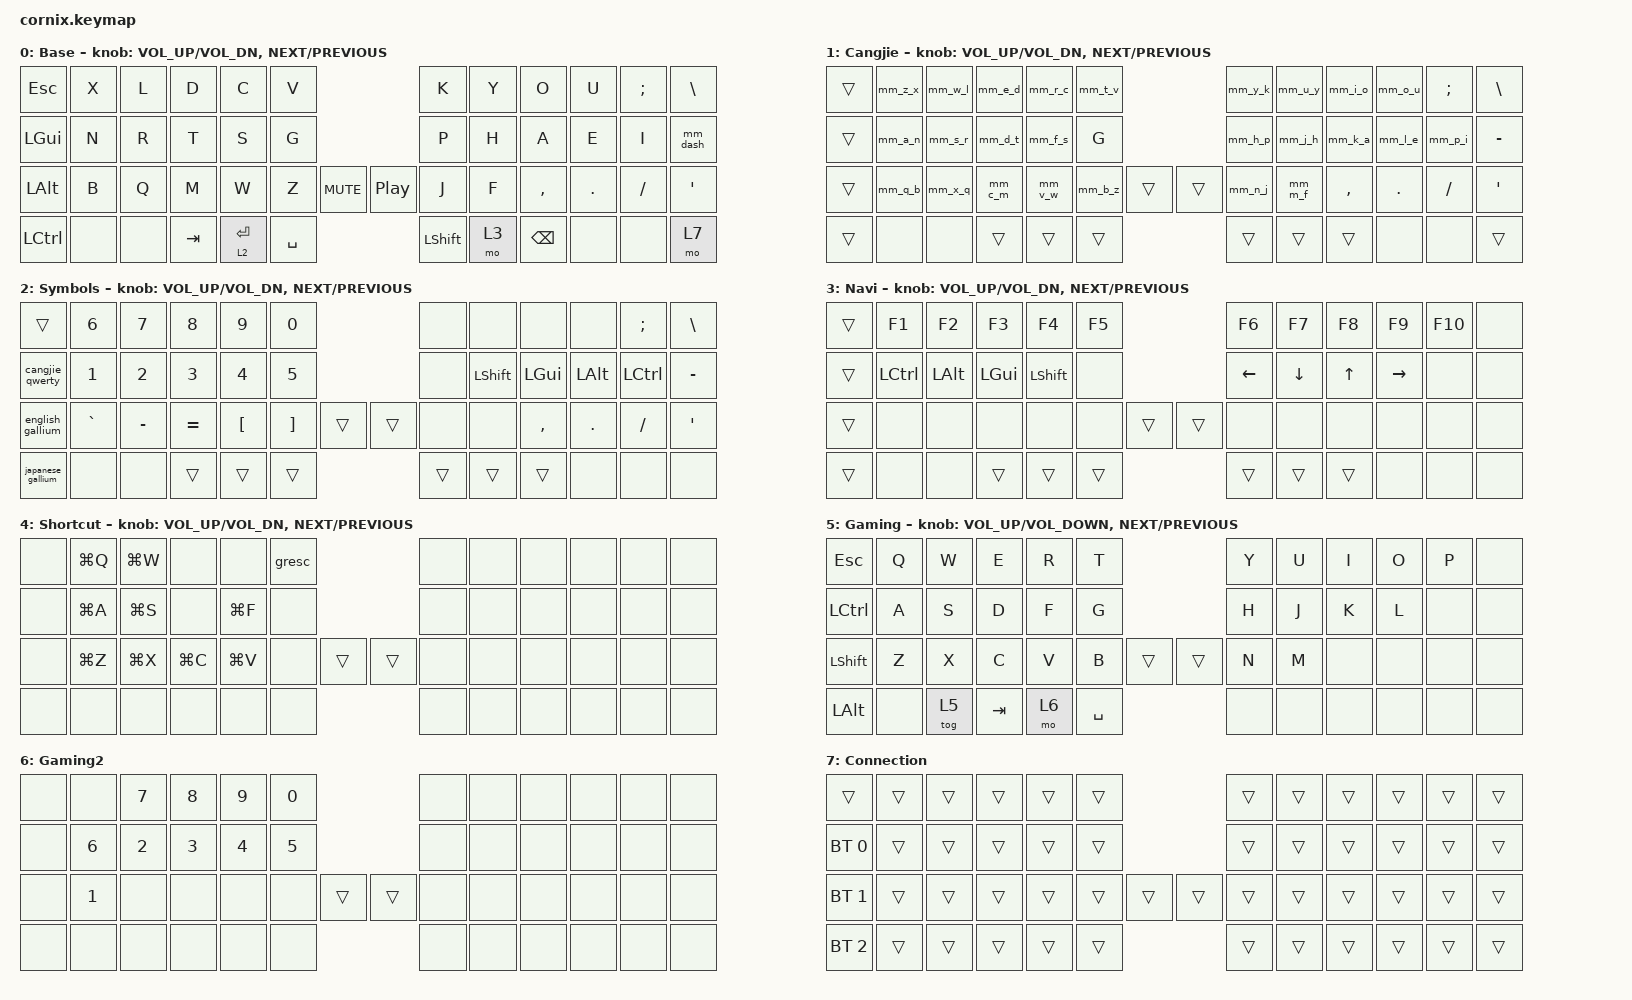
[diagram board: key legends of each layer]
/*
 * Copyright (c) 2020 The ZMK Contributors
 *
 * SPDX-License-Identifier: MIT
 */

#include "zmk-helpers/helper.h"
#include "includes/cornix54.h"

// tap windows for ctl alt and gui

#define HM_TAPPING_TERM 250
#define HM_TAPPING_REPEAT 210

// quick tapping for shift

#define HM_TAPPING_TERM_FAST 200
#define HM_PRIOR_IDLE 70
#define BASE 0
#define WIN 1
#define LOWER 2
#define RAISE 3
#define ADJUST 4
#define NAVI   5
#define NUM    6
#define DEBUG  7

// https://github.com/urob/zmk-config/tree/main#timeless-homerow-mods

#define KEYS_L LT0 LT1 LT2 LT3 LT4 LT5 LM0 LM1 LM2 LM3 LM4 LM5 LB0 LB1 LB2 LB3 LB4 LB5  // left hand
#define KEYS_R RT0 RT1 RT2 RT3 RT4 RT5 RM0 RM1 RM2 RM3 RM4 RM5 RB0 RB1 RB2 RB3 RB4 RB5  // right hand
#define THUMBS LH1 LH0 RH0 RH1
#define KEYS_T LH1 LH0 RH0 RH1
#define ZMK_POINTING_DEFAULT_SCRL_VAL 15

#include <behaviors.dtsi>
#include <dt-bindings/zmk/bt.h>
#include <dt-bindings/zmk/keys.h>

/ {
    // Activate ADJUST layer by pressing raise and lower

    behaviors {
        // Positional Homerow mods for shift
        // Use faster tapping term and disable some features that may
        // cause false negatives.
        /*
         * Non-Positional Homerow Mods
         * Used for &mm_grescm_gui behavior on left hand.
         *
         * Usage: &hm LSHFT T
         * Tap: T
         * Tap-Tap-Hold: Repeat T
         * Hold: LSHIFT
         */

        Cangjie_Layer: Cangjie_Layer {
            compatible = "zmk,behavior-hold-tap";
            label = "CANGJIE_LAYER";
            bindings = <&mo>, <&cangjie_qwerty>;

            #binding-cells = <2>;
            tapping-term-ms = <200>;
        };

        English_Layer: English_Layer {
            compatible = "zmk,behavior-hold-tap";
            label = "ENGLISH_LAYER";
            bindings = <&mo>, <&english_gallium>;

            #binding-cells = <2>;
            tapping-term-ms = <200>;
        };

        Shift_Layer: Shift_Layer {
            compatible = "zmk,behavior-hold-tap";
            label = "SHIFT_LAYER";
            bindings = <&mo>, <&sk>;

            #binding-cells = <2>;
            tapping-term-ms = <200>;
            quick-tap-ms = <150>;
        };

        toggle_on: toggle_on {
            compatible = "zmk,behavior-toggle-layer";
            label = "TOGGLE_ON";
            #binding-cells = <1>;
        };

        toggle_off: toggle_off {
            compatible = "zmk,behavior-toggle-layer";
            label = "TOGGLE_OFF";
            #binding-cells = <1>;
            toggle-mode = "off";
        };

        mm_dash: mm_dash {
            compatible = "zmk,behavior-mod-morph";
            label = "MM_DASH";
            bindings = <&kp MINUS>, <&kp MINUS>;

            #binding-cells = <0>;
            mods = <(MOD_LSFT)>;
        };

        mm_a_n: mm_a_n {
            compatible = "zmk,behavior-mod-morph";
            label = "MM_A_N";
            bindings = <&kp A>, <&kp N>;

            #binding-cells = <0>;
            mods = <(MOD_LCTL|MOD_LSFT|MOD_LALT|MOD_LGUI|MOD_RCTL|MOD_RSFT|MOD_RALT|MOD_RGUI)>;
            keep-mods = <(MOD_LCTL|MOD_LSFT|MOD_LALT|MOD_LGUI|MOD_RCTL|MOD_RALT|MOD_RSFT|MOD_RGUI)>;
        };

        mm_b_z: mm_b_z {
            compatible = "zmk,behavior-mod-morph";
            label = "MM_B_Z";
            bindings = <&kp B>, <&kp Z>;

            #binding-cells = <0>;
            mods = <(MOD_LCTL|MOD_LSFT|MOD_LALT|MOD_LGUI|MOD_RCTL|MOD_RSFT|MOD_RALT|MOD_RGUI)>;
            keep-mods = <(MOD_LCTL|MOD_LSFT|MOD_LALT|MOD_LGUI|MOD_RCTL|MOD_RALT|MOD_RSFT|MOD_RGUI)>;
        };

        mm_c_m: mm_c_m {
            compatible = "zmk,behavior-mod-morph";
            label = "MM_C_M";
            bindings = <&kp C>, <&kp M>;

            #binding-cells = <0>;
            mods = <(MOD_LCTL|MOD_LSFT|MOD_LALT|MOD_LGUI|MOD_RCTL|MOD_RSFT|MOD_RALT|MOD_RGUI)>;
            keep-mods = <(MOD_LCTL|MOD_LSFT|MOD_LALT|MOD_LGUI|MOD_RCTL|MOD_RALT|MOD_RSFT|MOD_RGUI)>;
        };

        mm_d_t: mm_d_t {
            compatible = "zmk,behavior-mod-morph";
            label = "MM_D_T";
            bindings = <&kp D>, <&kp T>;

            #binding-cells = <0>;
            mods = <(MOD_LCTL|MOD_LSFT|MOD_LALT|MOD_LGUI|MOD_RCTL|MOD_RSFT|MOD_RALT|MOD_RGUI)>;
            keep-mods = <(MOD_LCTL|MOD_LSFT|MOD_LALT|MOD_LGUI|MOD_RCTL|MOD_RALT|MOD_RSFT|MOD_RGUI)>;
        };

        mm_e_d: mm_e_d {
            compatible = "zmk,behavior-mod-morph";
            label = "MM_E_D";
            bindings = <&kp E>, <&kp D>;

            #binding-cells = <0>;
            mods = <(MOD_LCTL|MOD_LSFT|MOD_LALT|MOD_LGUI|MOD_RCTL|MOD_RSFT|MOD_RALT|MOD_RGUI)>;
            keep-mods = <(MOD_LCTL|MOD_LSFT|MOD_LALT|MOD_LGUI|MOD_RCTL|MOD_RALT|MOD_RSFT|MOD_RGUI)>;
        };

        mm_f_s: mm_f_s {
            compatible = "zmk,behavior-mod-morph";
            label = "MM_F_S";
            bindings = <&kp F>, <&kp S>;

            #binding-cells = <0>;
            mods = <(MOD_LCTL|MOD_LSFT|MOD_LALT|MOD_LGUI|MOD_RCTL|MOD_RSFT|MOD_RALT|MOD_RGUI)>;
            keep-mods = <(MOD_LCTL|MOD_LSFT|MOD_LALT|MOD_LGUI|MOD_RCTL|MOD_RALT|MOD_RSFT|MOD_RGUI)>;
        };

        mm_h_p: mm_h_p {
            compatible = "zmk,behavior-mod-morph";
            label = "MM_H_P";
            bindings = <&kp H>, <&kp P>;

            #binding-cells = <0>;
            mods = <(MOD_LCTL|MOD_LSFT|MOD_LALT|MOD_LGUI|MOD_RCTL|MOD_RSFT|MOD_RALT|MOD_RGUI)>;
            keep-mods = <(MOD_LCTL|MOD_LSFT|MOD_LALT|MOD_LGUI|MOD_RCTL|MOD_RALT|MOD_RSFT|MOD_RGUI)>;
        };

        mm_i_o: mm_i_o {
            compatible = "zmk,behavior-mod-morph";
            label = "MM_I_O";
            bindings = <&kp I>, <&kp O>;

            #binding-cells = <0>;
            mods = <(MOD_LCTL|MOD_LSFT|MOD_LALT|MOD_LGUI|MOD_RCTL|MOD_RSFT|MOD_RALT|MOD_RGUI)>;
            keep-mods = <(MOD_LCTL|MOD_LSFT|MOD_LALT|MOD_LGUI|MOD_RCTL|MOD_RALT|MOD_RSFT|MOD_RGUI)>;
        };

        mm_j_h: mm_j_h {
            compatible = "zmk,behavior-mod-morph";
            label = "MM_J_H";
            bindings = <&kp J>, <&kp H>;

            #binding-cells = <0>;
            mods = <(MOD_LCTL|MOD_LSFT|MOD_LALT|MOD_LGUI|MOD_RCTL|MOD_RSFT|MOD_RALT|MOD_RGUI)>;
            keep-mods = <(MOD_LCTL|MOD_LSFT|MOD_LALT|MOD_LGUI|MOD_RCTL|MOD_RALT|MOD_RSFT|MOD_RGUI)>;
        };

        mm_k_a: mm_k_a {
            compatible = "zmk,behavior-mod-morph";
            label = "MM_K_A";
            bindings = <&kp K>, <&kp A>;

            #binding-cells = <0>;
            mods = <(MOD_LCTL|MOD_LSFT|MOD_LALT|MOD_LGUI|MOD_RCTL|MOD_RSFT|MOD_RALT|MOD_RGUI)>;
            keep-mods = <(MOD_LCTL|MOD_LSFT|MOD_LALT|MOD_LGUI|MOD_RCTL|MOD_RALT|MOD_RSFT|MOD_RGUI)>;
        };

        mm_l_e: mm_l_e {
            compatible = "zmk,behavior-mod-morph";
            label = "MM_L_E";
            bindings = <&kp L>, <&kp E>;

            #binding-cells = <0>;
            mods = <(MOD_LCTL|MOD_LSFT|MOD_LALT|MOD_LGUI|MOD_RCTL|MOD_RSFT|MOD_RALT|MOD_RGUI)>;
            keep-mods = <(MOD_LCTL|MOD_LSFT|MOD_LALT|MOD_LGUI|MOD_RCTL|MOD_RALT|MOD_RSFT|MOD_RGUI)>;
        };

        mm_m_f: mm_m_f {
            compatible = "zmk,behavior-mod-morph";
            label = "MM_M_F";
            bindings = <&kp M>, <&kp F>;

            #binding-cells = <0>;
            mods = <(MOD_LCTL|MOD_LSFT|MOD_LALT|MOD_LGUI|MOD_RCTL|MOD_RSFT|MOD_RALT|MOD_RGUI)>;
            keep-mods = <(MOD_LCTL|MOD_LSFT|MOD_LALT|MOD_LGUI|MOD_RCTL|MOD_RALT|MOD_RSFT|MOD_RGUI)>;
        };

        mm_n_j: mm_n_j {
            compatible = "zmk,behavior-mod-morph";
            label = "MM_N_J";
            bindings = <&kp N>, <&kp J>;

            #binding-cells = <0>;
            mods = <(MOD_LCTL|MOD_LSFT|MOD_LALT|MOD_LGUI|MOD_RCTL|MOD_RSFT|MOD_RALT|MOD_RGUI)>;
            keep-mods = <(MOD_LCTL|MOD_LSFT|MOD_LALT|MOD_LGUI|MOD_RCTL|MOD_RALT|MOD_RSFT|MOD_RGUI)>;
        };

        mm_o_u: mm_o_u {
            compatible = "zmk,behavior-mod-morph";
            label = "MM_O_U";
            bindings = <&kp O>, <&kp U>;

            #binding-cells = <0>;
            mods = <(MOD_LCTL|MOD_LSFT|MOD_LALT|MOD_LGUI|MOD_RCTL|MOD_RSFT|MOD_RALT|MOD_RGUI)>;
            keep-mods = <(MOD_LCTL|MOD_LSFT|MOD_LALT|MOD_LGUI|MOD_RCTL|MOD_RALT|MOD_RSFT|MOD_RGUI)>;
        };

        mm_p_i: mm_p_i {
            compatible = "zmk,behavior-mod-morph";
            label = "MM_P_I";
            bindings = <&kp P>, <&kp I>;

            #binding-cells = <0>;
            mods = <(MOD_LCTL|MOD_LSFT|MOD_LALT|MOD_LGUI|MOD_RCTL|MOD_RSFT|MOD_RALT|MOD_RGUI)>;
            keep-mods = <(MOD_LCTL|MOD_LSFT|MOD_LALT|MOD_LGUI|MOD_RCTL|MOD_RALT|MOD_RSFT|MOD_RGUI)>;
        };

        mm_q_b: mm_q_b {
            compatible = "zmk,behavior-mod-morph";
            label = "MM_Q_B";
            bindings = <&kp Q>, <&kp B>;

            #binding-cells = <0>;
            mods = <(MOD_LCTL|MOD_LSFT|MOD_LALT|MOD_LGUI|MOD_RCTL|MOD_RSFT|MOD_RALT|MOD_RGUI)>;
            keep-mods = <(MOD_LCTL|MOD_LSFT|MOD_LALT|MOD_LGUI|MOD_RCTL|MOD_RALT|MOD_RSFT|MOD_RGUI)>;
        };

        mm_r_c: mm_r_c {
            compatible = "zmk,behavior-mod-morph";
            label = "MM_R_C";
            bindings = <&kp R>, <&kp C>;

            #binding-cells = <0>;
            mods = <(MOD_LCTL|MOD_LSFT|MOD_LALT|MOD_LGUI|MOD_RCTL|MOD_RSFT|MOD_RALT|MOD_RGUI)>;
            keep-mods = <(MOD_LCTL|MOD_LSFT|MOD_LALT|MOD_LGUI|MOD_RCTL|MOD_RALT|MOD_RSFT|MOD_RGUI)>;
        };

        mm_s_r: mm_s_r {
            compatible = "zmk,behavior-mod-morph";
            label = "MM_S_R";
            bindings = <&kp S>, <&kp R>;

            #binding-cells = <0>;
            mods = <(MOD_LCTL|MOD_LSFT|MOD_LALT|MOD_LGUI|MOD_RCTL|MOD_RSFT|MOD_RALT|MOD_RGUI)>;
            keep-mods = <(MOD_LCTL|MOD_LSFT|MOD_LALT|MOD_LGUI|MOD_RCTL|MOD_RALT|MOD_RSFT|MOD_RGUI)>;
        };

        mm_t_v: mm_t_v {
            compatible = "zmk,behavior-mod-morph";
            label = "MM_T_V";
            bindings = <&kp T>, <&kp V>;

            #binding-cells = <0>;
            mods = <(MOD_LCTL|MOD_LSFT|MOD_LALT|MOD_LGUI|MOD_RCTL|MOD_RSFT|MOD_RALT|MOD_RGUI)>;
            keep-mods = <(MOD_LCTL|MOD_LSFT|MOD_LALT|MOD_LGUI|MOD_RCTL|MOD_RALT|MOD_RSFT|MOD_RGUI)>;
        };

        mm_u_y: mm_u_y {
            compatible = "zmk,behavior-mod-morph";
            label = "MM_U_Y";
            bindings = <&kp U>, <&kp Y>;

            #binding-cells = <0>;
            mods = <(MOD_LCTL|MOD_LSFT|MOD_LALT|MOD_LGUI|MOD_RCTL|MOD_RSFT|MOD_RALT|MOD_RGUI)>;
            keep-mods = <(MOD_LCTL|MOD_LSFT|MOD_LALT|MOD_LGUI|MOD_RCTL|MOD_RALT|MOD_RSFT|MOD_RGUI)>;
        };

        mm_v_w: mm_v_w {
            compatible = "zmk,behavior-mod-morph";
            label = "MM_V_W";
            bindings = <&kp V>, <&kp W>;

            #binding-cells = <0>;
            mods = <(MOD_LCTL|MOD_LSFT|MOD_LALT|MOD_LGUI|MOD_RCTL|MOD_RSFT|MOD_RALT|MOD_RGUI)>;
            keep-mods = <(MOD_LCTL|MOD_LSFT|MOD_LALT|MOD_LGUI|MOD_RCTL|MOD_RALT|MOD_RSFT|MOD_RGUI)>;
        };

        mm_w_l: mm_w_l {
            compatible = "zmk,behavior-mod-morph";
            label = "MM_W_L";
            bindings = <&kp W>, <&kp L>;

            #binding-cells = <0>;
            mods = <(MOD_LCTL|MOD_LSFT|MOD_LALT|MOD_LGUI|MOD_RCTL|MOD_RSFT|MOD_RALT|MOD_RGUI)>;
            keep-mods = <(MOD_LCTL|MOD_LSFT|MOD_LALT|MOD_LGUI|MOD_RCTL|MOD_RALT|MOD_RSFT|MOD_RGUI)>;
        };

        mm_x_q: mm_x_q {
            compatible = "zmk,behavior-mod-morph";
            label = "MM_X_Q";
            bindings = <&kp X>, <&kp Q>;

            #binding-cells = <0>;
            mods = <(MOD_LCTL|MOD_LSFT|MOD_LALT|MOD_LGUI|MOD_RCTL|MOD_RSFT|MOD_RALT|MOD_RGUI)>;
            keep-mods = <(MOD_LCTL|MOD_LSFT|MOD_LALT|MOD_LGUI|MOD_RCTL|MOD_RALT|MOD_RSFT|MOD_RGUI)>;
        };

        mm_y_k: mm_y_k {
            compatible = "zmk,behavior-mod-morph";
            label = "MM_Y_K";
            bindings = <&kp Y>, <&kp K>;

            #binding-cells = <0>;
            mods = <(MOD_LCTL|MOD_LSFT|MOD_LALT|MOD_LGUI|MOD_RCTL|MOD_RSFT|MOD_RALT|MOD_RGUI)>;
            keep-mods = <(MOD_LCTL|MOD_LSFT|MOD_LALT|MOD_LGUI|MOD_RCTL|MOD_RALT|MOD_RSFT|MOD_RGUI)>;
        };

        mm_z_x: mm_z_x {
            compatible = "zmk,behavior-mod-morph";
            label = "MM_Z_X";
            bindings = <&kp Z>, <&kp X>;

            #binding-cells = <0>;
            mods = <(MOD_LCTL|MOD_LSFT|MOD_LALT|MOD_LGUI|MOD_RCTL|MOD_RSFT|MOD_RALT|MOD_RGUI)>;
            keep-mods = <(MOD_LCTL|MOD_LSFT|MOD_LALT|MOD_LGUI|MOD_RCTL|MOD_RALT|MOD_RSFT|MOD_RGUI)>;
        };
    };

    conditional_layers { compatible = "zmk,conditional-layers"; };

    combos { compatible = "zmk,combos"; };

    macros {
        cangjie_qwerty: cangjie_qwerty {
            compatible = "zmk,behavior-macro";
            #binding-cells = <0>;
            bindings = <&toggle_on 1 &kp LC(K)>;
            label = "CANGJIE_QWERTY";
        };

        english_gallium: english_gallium {
            compatible = "zmk,behavior-macro";
            #binding-cells = <0>;
            bindings = <&toggle_off 1 &kp LC(E)>;
            label = "ENGLISH_GALLIUM";
        };

        japanese_gallium: japanese_gallium {
            compatible = "zmk,behavior-macro";
            #binding-cells = <0>;
            bindings = <&toggle_off 1 &kp LC(J)>;
            label = "JAPANESE_GALLIUM";
        };
    };

    keymap {
        compatible = "zmk,keymap";

        Gallium {
            display-name = "Base";

            // ------------------------------------------------------------------------------------------------------------
            // |   `   |  1  |  2  |  3   |  4   |  5   |                   |  6   |  7    |  8    |  9   |   0   |       |
            // |  ESC  |  Q  |  W  |  E   |  R   |  T   |                   |  Y   |  U    |  I    |  O   |   P   | BKSPC |
            // |  TAB  |  A  |  S  |  D   |  F   |  G   |                   |  H   |  J    |  K    |  L   |   ;   |   '   |
            // | SHIFT |  Z  |  X  |  C   |  V   |  B   |  MUTE  |  |       |  N   |  M    |  ,    |  .   |   /   | SHIFT |
            //               | GUI | ALT  | CTRL | LOWER|  ENTER |  | SPACE | RAISE| CTRL  | ALT   | GUI  |

            bindings = <
&kp ESC    &kp X  &kp L  &kp D    &kp C        &kp V                                    &kp K           &kp Y  &kp O          &kp U    &kp SEMI  &kp BACKSLASH
&kp LGUI   &kp N  &kp R  &kp T    &kp S        &kp G                                    &kp P           &kp H  &kp A          &kp E    &kp I     &mm_dash
&kp LALT   &kp B  &kp Q  &kp M    &kp W        &kp Z      &kp C_MUTE  &kp C_PLAY_PAUSE  &kp J           &kp F  &kp COMMA      &kp DOT  &kp FSLH  &kp APOS
&kp LCTRL  &none  &none  &kp TAB  &lt 2 ENTER  &kp SPACE                                &kp LEFT_SHIFT  &mo 3  &kp BACKSPACE  &none    &none     &mo 7
            >;

            sensor-bindings =
                <&inc_dec_kp C_VOL_UP C_VOL_DN>,
                <&inc_dec_kp C_NEXT C_PREVIOUS>;
        };

        QWERTY {
            display-name = "Cangjie";

            // ------------------------------------------------------------------------------------------------------------
            // |   `   |  1  |  2  |  3   |  4   |  5   |                   |  6   |  7    |  8    |  9   |   0   |       |
            // |  ESC  |  Q  |  W  |  E   |  R   |  T   |                   |  Y   |  U    |  I    |  O   |   P   | BKSPC |
            // |  TAB  |  A  |  S  |  D   |  F   |  G   |                   |  H   |  J    |  K    |  L   |   ;   |   '   |
            // | SHIFT |  Z  |  X  |  C   |  V   |  B   |  MUTE  |  |       |  N   |  M    |  ,    |  .   |   /   | SHIFT |
            //               | GUI | ALT  | CTRL | LOWER|  ENTER |  | SPACE | RAISE| CTRL  | ALT   | GUI  |

            bindings = <
&trans  &mm_z_x  &mm_w_l  &mm_e_d  &mm_r_c  &mm_t_v                  &mm_y_k  &mm_u_y  &mm_i_o    &mm_o_u     &kp SEMI  &kp BACKSLASH
&trans  &mm_a_n  &mm_s_r  &mm_d_t  &mm_f_s  &kp G                    &mm_h_p  &mm_j_h  &mm_k_a    &mm_l_e     &mm_p_i   &kp MINUS
&trans  &mm_q_b  &mm_x_q  &mm_c_m  &mm_v_w  &mm_b_z  &trans  &trans  &mm_n_j  &mm_m_f  &kp COMMA  &kp PERIOD  &kp FSLH  &kp APOS
&trans  &none    &none    &trans   &trans   &trans                   &trans   &trans   &trans     &none       &none     &trans
            >;

            sensor-bindings =
                <&inc_dec_kp C_VOL_UP C_VOL_DN>,
                <&inc_dec_kp C_NEXT C_PREVIOUS>;
        };

        Symbols {
            display-name = "Symbols";

            // TODO: Some binds are waiting for shifted keycode support.
            // -------------------------------
            // |       |  F1 |  F2 |  F3  |  F4  |  F5  |                   |  F6  |  F7   |  F8   |  F9  |  F10  |  F11  |
            // |   `   |  1  |  2  |  3   |  4   |  5   |                   |  6   |  7    |  8    |  9   |   0   |  F12  |
            // |       |  !  |  @  |  #   |  $   |  %   |                   |  ^   |  &    |  *    |  (   |   )   |   |   |
            // |       |  =  |  -  |  +   |  {   |  }   |        |  |       |  [   |  ]    |  ;    |  :   |   \   |       |
            //               |     |      |      |      |        |  |       |      |       |       |      |

            bindings = <
&trans             &kp N6     &kp N7        &kp N8        &kp N9        &kp N0                    &none   &none           &none         &none         &kp SEMI   &kp BSLH
&cangjie_qwerty    &kp N1     &kp NUMBER_2  &kp NUMBER_3  &kp NUMBER_4  &kp N5                    &none   &kp LEFT_SHIFT  &kp LEFT_GUI  &kp LEFT_ALT  &kp LCTRL  &kp MINUS
&english_gallium   &kp GRAVE  &kp MINUS     &kp EQUAL     &kp LBKT      &kp RBKT  &trans  &trans  &none   &none           &kp COMMA     &kp DOT       &kp FSLH   &kp APOS
&japanese_gallium  &none      &none         &trans        &trans        &trans                    &trans  &trans          &trans        &none         &none      &none
            >;

            sensor-bindings =
                <&inc_dec_kp C_VOL_UP C_VOL_DN>,
                <&inc_dec_kp C_NEXT C_PREVIOUS>;
        };

        Navigation {
            display-name = "Navi";

            // ------------------------------------------------------------------------------------------------------------
            // | BTCLR | BT1  | BT2  |  BT3  |  BT4  |  BT5 |                |      |      |       |      |       |       |
            // |       | INS  | PSCR | GUI   |       |      |                | PGUP |      |   ^   |      |       |       |
            // |       | ALT  | CTRL | SHIFT |       | CAPS |                | PGDN |   <- |   v   |  ->  |  DEL  | BKSPC |
            // |       | UNDO | CUT  | COPY  | PASTE |      |      |  |      |      |      |       |      |       |       |
            //                |      |       |       |      |      |  |      |      |      |       |      |

            bindings = <
&trans  &kp F1     &kp F2        &kp F3        &kp F4          &kp F5                  &kp F6    &kp F7    &kp F8  &kp F9     &kp F10  &none
&trans  &kp LCTRL  &kp LEFT_ALT  &kp LEFT_GUI  &kp LEFT_SHIFT  &none                   &kp LEFT  &kp DOWN  &kp UP  &kp RIGHT  &none    &none
&trans  &none      &none         &none         &none           &none   &trans  &trans  &none     &none     &none   &none      &none    &none
&trans  &none      &none         &trans        &trans          &trans                  &trans    &trans    &trans  &none      &none    &none
            >;

            sensor-bindings =
                <&inc_dec_kp C_VOL_UP C_VOL_DN>,
                <&inc_dec_kp C_NEXT C_PREVIOUS>;
        };

        Shortcut {
            display-name = "Shortcut";

            // ----------------------------------------------------------------------------------------------------------------------------
            // | BTCLR  |  BT1    |  BT2    |   BT3   |   BT4   |   BT5   |                  |      |      |       |      |       |       |
            // | moDEBUG| RGB_HUD | RGB_HUI | RGB_SAD | RGB_SAI | RGB_EFF |                  |      |      |       |      |       |       |
            // | EXTPWR | RGB_BRD | RGB_BRI |         |         |         |                  |      |      |       |      |       |       |
            // |        |         |         |         |         |         | RGB_TOG | |      |      |      |       |      |       |       |
            //                    |         |         |         |         |         | |      |      |      |       |      |

            bindings = <
&none  &kp LG(Q)  &kp LG(W)  &none      &none      &gresc                  &none  &none  &none  &none  &none  &none
&none  &kp LG(A)  &kp LG(S)  &none      &kp LG(F)  &none                   &none  &none  &none  &none  &none  &none
&none  &kp LG(Z)  &kp LG(X)  &kp LG(C)  &kp LG(V)  &none   &trans  &trans  &none  &none  &none  &none  &none  &none
&none  &none      &none      &none      &none      &none                   &none  &none  &none  &none  &none  &none
            >;

            sensor-bindings =
                <&inc_dec_kp C_VOL_UP C_VOL_DN>,
                <&inc_dec_kp C_NEXT C_PREVIOUS>;
        };

        Gaming {
            bindings = <
&kp ESC       &kp Q  &kp W   &kp E    &kp R  &kp T                      &kp Y  &kp U  &kp I  &kp O  &kp P  &none
&kp LCTRL     &kp A  &kp S   &kp D    &kp F  &kp G                      &kp H  &kp J  &kp K  &kp L  &none  &none
&kp LSHFT     &kp Z  &kp X   &kp C    &kp V  &kp B      &trans  &trans  &kp N  &kp M  &none  &none  &none  &none
&kp LEFT_ALT  &none  &tog 5  &kp TAB  &mo 6  &kp SPACE                  &none  &none  &none  &none  &none  &none
            >;

            sensor-bindings =
                <&inc_dec_kp C_VOLUME_UP C_VOLUME_DOWN>,
                <&inc_dec_kp C_NEXT C_PREVIOUS>;
        };

        Gaming2 {
            bindings = <
&none  &none   &kp N7  &kp N8  &kp N9  &kp N0                  &none  &none  &none  &none  &none  &none
&none  &kp N6  &kp N2  &kp N3  &kp N4  &kp N5                  &none  &none  &none  &none  &none  &none
&none  &kp N1  &none   &none   &none   &none   &trans  &trans  &none  &none  &none  &none  &none  &none
&none  &none   &none   &none   &none   &none                   &none  &none  &none  &none  &none  &none
            >;
        };

        Connection {
            bindings = <
&trans        &trans  &trans  &trans  &trans  &trans                  &trans  &trans  &trans  &trans  &trans  &trans
&bt BT_SEL 0  &trans  &trans  &trans  &trans  &trans                  &trans  &trans  &trans  &trans  &trans  &trans
&bt BT_SEL 1  &trans  &trans  &trans  &trans  &trans  &trans  &trans  &trans  &trans  &trans  &trans  &trans  &trans
&bt BT_SEL 2  &trans  &trans  &trans  &trans  &trans                  &trans  &trans  &trans  &trans  &trans  &trans
            >;
        };
    };
};
